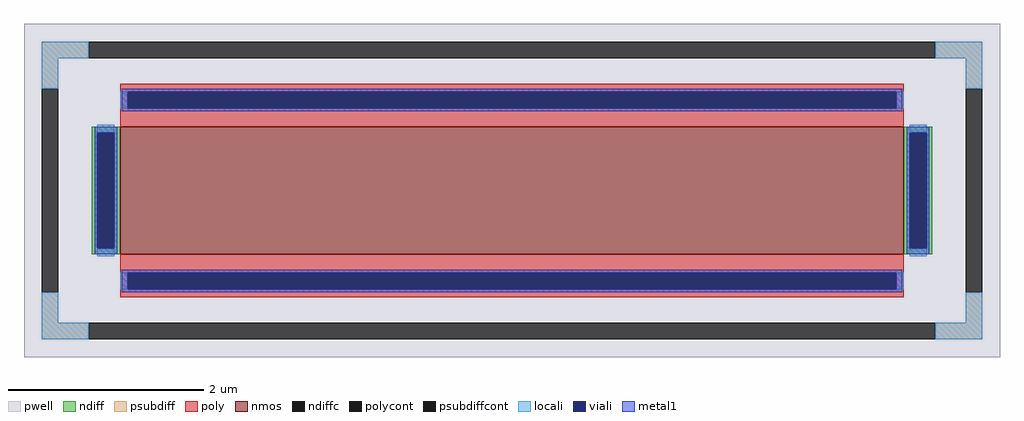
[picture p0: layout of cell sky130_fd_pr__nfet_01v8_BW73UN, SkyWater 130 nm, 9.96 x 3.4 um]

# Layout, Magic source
magic
tech sky130A
<< pwell >>
rect -498 -170 498 170
<< nmos >>
rect -400 -65 400 65
<< ndiff >>
rect -429 59 -400 65
rect -429 -59 -423 59
rect -406 -59 -400 59
rect -429 -65 -400 -59
rect 400 59 429 65
rect 400 -59 406 59
rect 423 -59 429 59
rect 400 -65 429 -59
<< ndiffc >>
rect -423 -59 -406 59
rect 406 -59 423 59
<< psubdiff >>
rect -480 135 -432 152
rect 432 135 480 152
rect -480 104 -463 135
rect 463 104 480 135
rect -480 -135 -463 -104
rect 463 -135 480 -104
rect -480 -152 -432 -135
rect 432 -152 480 -135
<< psubdiffcont >>
rect -432 135 432 152
rect -480 -104 -463 104
rect 463 -104 480 104
rect -432 -152 432 -135
<< poly >>
rect -400 101 400 109
rect -400 84 -392 101
rect 392 84 400 101
rect -400 65 400 84
rect -400 -84 400 -65
rect -400 -101 -392 -84
rect 392 -101 400 -84
rect -400 -109 400 -101
<< polycont >>
rect -392 84 392 101
rect -392 -101 392 -84
<< locali >>
rect -480 135 -432 152
rect 432 135 480 152
rect -480 104 -463 135
rect 463 104 480 135
rect -400 84 -392 101
rect 392 84 400 101
rect -423 59 -406 67
rect -423 -67 -406 -59
rect 406 59 423 67
rect 406 -67 423 -59
rect -400 -101 -392 -84
rect 392 -101 400 -84
rect -480 -135 -463 -104
rect 463 -135 480 -104
rect -480 -152 -432 -135
rect 432 -152 480 -135
<< viali >>
rect -392 84 392 101
rect -423 -59 -406 59
rect 406 -59 423 59
rect -392 -101 392 -84
<< metal1 >>
rect -398 101 398 104
rect -398 84 -392 101
rect 392 84 398 101
rect -398 81 398 84
rect -426 59 -403 65
rect -426 -59 -423 59
rect -406 -59 -403 59
rect -426 -65 -403 -59
rect 403 59 426 65
rect 403 -59 406 59
rect 423 -59 426 59
rect 403 -65 426 -59
rect -398 -84 398 -81
rect -398 -101 -392 -84
rect 392 -101 398 -84
rect -398 -104 398 -101
<< properties >>
string FIXED_BBOX -471 -143 471 143
string gencell sky130_fd_pr__nfet_01v8
string library sky130
string parameters w 1.3 l 8 m 1 nf 1 diffcov 100 polycov 100 guard 1 glc 1 grc 1 gtc 1 gbc 1 tbcov 100 rlcov 100 topc 1 botc 1 poverlap 0 doverlap 1 lmin 0.15 wmin 0.42 compatible {sky130_fd_pr__nfet_01v8 sky130_fd_pr__nfet_01v8_lvt  sky130_fd_bs_flash__special_sonosfet_star  sky130_fd_pr__nfet_g5v0d10v5 sky130_fd_pr__nfet_05v0_nvt  sky130_fd_pr__nfet_03v3_nvt} full_metal 1 viasrc 100 viadrn 100 viagate 100 viagb 0 viagr 0 viagl 0 viagt 0
<< end >>
